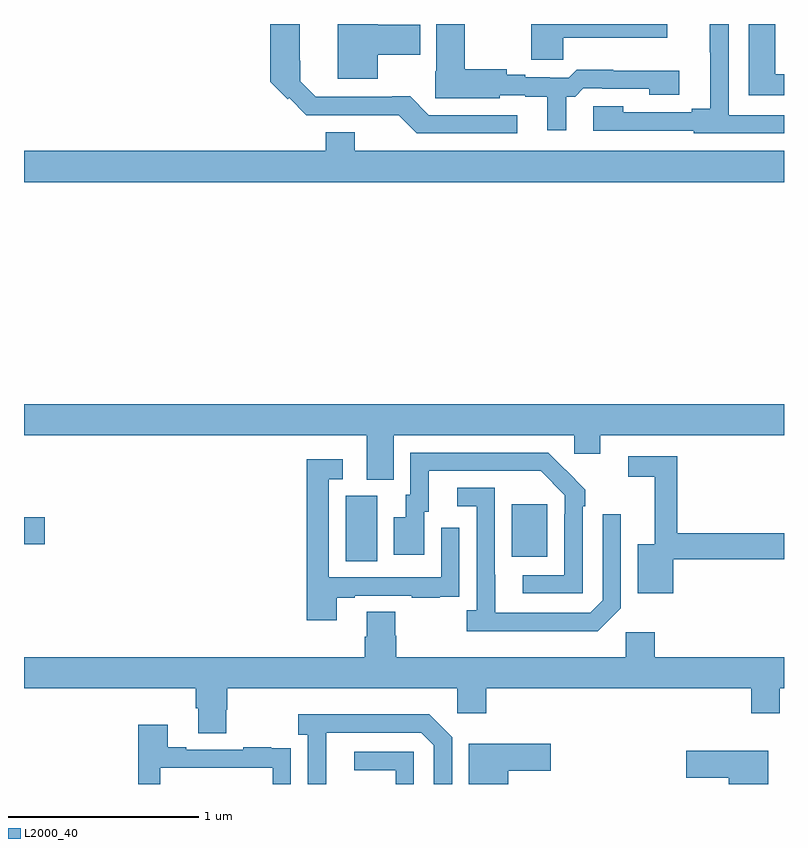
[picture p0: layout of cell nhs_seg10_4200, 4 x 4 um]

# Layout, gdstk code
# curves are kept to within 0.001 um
import gdstk
lib = gdstk.Library(unit=1e-6, precision=1e-09)
def R(c, l, rs):  # rectangles x0, y0, x1, y1
    for r in rs: c.add(gdstk.rectangle(r[:2], r[2:], *l))
def P(c, l, *ps):  # polygons
    for p in ps: c.add(gdstk.Polygon(p, *l))
L2000_40 = (2000, 40)

nhs_seg10_4200 = lib.new_cell('nhs_seg10_4200')
R(nhs_seg10_4200, L2000_40, [(346.694,1279.672,346.858,1280.016), (347.567,1279.697,347.755,1279.972), (345,1279.763,345.109,1279.905)])
P(nhs_seg10_4200, L2000_40, [(347.837,1282.427),(348.385,1282.427),(348.385,1282.5),(347.671,1282.5),(347.671,1282.311),(347.837,1282.311)],
  [(347.854,1282.118),(347.9,1282.118),(347.943,1282.161),(348.043,1282.161),(348.043,1282.158),(348.292,1282.158),(348.292,1282.127),(348.448,1282.127),(348.448,1282.255),(348.101,1282.255),(348.101,1282.258),(347.908,1282.258),(347.868,1282.218),(347.768,1282.218),(347.768,1282.221),(347.638,1282.221),(347.638,1282.234),(347.542,1282.234),(347.542,1282.263),(347.319,1282.263),(347.319,1282.5),(347.171,1282.5),(347.171,1282.251),(347.164,1282.251),(347.164,1282.109),(347.505,1282.109),(347.505,1282.125),(347.638,1282.125),(347.638,1282.118),(347.753,1282.118),(347.753,1281.942),(347.854,1281.942)],
  [(349,1282.02),(348.708,1282.02),(348.708,1282.5),(348.61,1282.5),(348.61,1282.351),(348.611,1282.351),(348.611,1282.055),(348.515,1282.055),(348.515,1282.035),(348.153,1282.035),(348.153,1282.066),(347.997,1282.066),(347.997,1281.939),(348.525,1281.939),(348.525,1281.924),(349,1281.924)],
  [(346.861,1282.337),(347.086,1282.337),(347.086,1282.495),(346.861,1282.495),(346.861,1282.5),(346.652,1282.5),(346.652,1282.211),(346.861,1282.211)],
  [(349,1282.235),(348.955,1282.235),(348.955,1282.5),(348.815,1282.5),(348.815,1282.126),(349,1282.126)],
  [(347.596,1282.02),(347.13,1282.02),(347.032,1282.119),(346.937,1282.119),(346.937,1282.116),(346.536,1282.116),(346.453,1282.2),(346.453,1282.306),(346.45,1282.306),(346.45,1282.5),(346.295,1282.5),(346.295,1282.197),(346.388,1282.103),(346.395,1282.111),(346.485,1282.02),(346.973,1282.019),(347.067,1281.924),(347.596,1281.924)],
  [(349,1281.832),(346.741,1281.832),(346.741,1281.931),(346.589,1281.931),(346.589,1281.832),(345,1281.832),(345,1281.668),(349,1281.668)],
  [(345,1280.336),(346.805,1280.336),(346.805,1280.101),(346.945,1280.101),(346.945,1280.336),(347.895,1280.336),(347.895,1280.238),(348.034,1280.238),(348.034,1280.336),(349,1280.336),(349,1280.5),(345,1280.5)],
  [(347.94,1279.961),(347.955,1279.961),(347.955,1280.049),(347.758,1280.244),(347.034,1280.244),(347.034,1280.022),(347.009,1280.022),(347.009,1279.903),(346.946,1279.903),(346.946,1279.707),(347.107,1279.707),(347.107,1279.932),(347.131,1279.932),(347.131,1280.148),(347.719,1280.148),(347.847,1280.019),(347.847,1279.919),(347.844,1279.919),(347.844,1279.599),(347.625,1279.599),(347.625,1279.503),(347.94,1279.503)],
  [(348.417,1279.684),(349,1279.684),(349,1279.82),(348.437,1279.82),(348.437,1280.226),(348.18,1280.226),(348.18,1280.118),(348.32,1280.118),(348.32,1279.762),(348.23,1279.762),(348.23,1279.505),(348.417,1279.505)],
  [(346.645,1279.479),(346.741,1279.479),(346.741,1279.491),(347.041,1279.491),(347.041,1279.479),(347.189,1279.479),(347.189,1279.485),(347.291,1279.485),(347.291,1279.594),(347.292,1279.594),(347.292,1279.849),(347.196,1279.849),(347.196,1279.587),(346.605,1279.587),(346.605,1280.103),(346.678,1280.103),(346.678,1280.209),(346.489,1280.209),(346.489,1279.362),(346.645,1279.362)],
  [(348.141,1279.425),(348.141,1279.921),(348.045,1279.921),(348.045,1279.467),(347.979,1279.401),(347.479,1279.401),(347.478,1280.058),(347.28,1280.058),(347.28,1279.962),(347.382,1279.962),(347.382,1279.414),(347.331,1279.414),(347.331,1279.304),(348.02,1279.304)],
  [(346.065,1278.891),(346.07,1278.891),(346.07,1279.004),(347.28,1279.004),(347.28,1278.873),(347.432,1278.873),(347.432,1279.004),(348.827,1279.004),(348.827,1278.873),(348.978,1278.873),(348.978,1279.004),(349,1279.004),(349,1279.168),(348.32,1279.168),(348.32,1279.3),(348.168,1279.3),(348.168,1279.168),(346.958,1279.168),(346.958,1279.281),(346.953,1279.281),(346.953,1279.406),(346.805,1279.406),(346.805,1279.274),(346.793,1279.274),(346.793,1279.168),(345,1279.168),(345,1279.004),(345.905,1279.004),(345.905,1278.898),(345.917,1278.898),(345.917,1278.766),(346.065,1278.766)],
  [(346.59,1278.571),(346.591,1278.771),(347.091,1278.771),(347.157,1278.705),(347.157,1278.5),(347.253,1278.5),(347.253,1278.747),(347.132,1278.868),(346.443,1278.868),(346.443,1278.758),(346.494,1278.758),(346.494,1278.5),(346.59,1278.5)],
  [(345.717,1278.585),(346.308,1278.585),(346.308,1278.5),(346.404,1278.5),(346.404,1278.578),(346.403,1278.578),(346.403,1278.687),(346.301,1278.687),(346.301,1278.694),(346.153,1278.694),(346.153,1278.681),(345.853,1278.681),(345.853,1278.694),(345.757,1278.694),(345.757,1278.811),(345.601,1278.811),(345.601,1278.5),(345.717,1278.5)],
  [(347.549,1278.569),(347.773,1278.569),(347.773,1278.711),(347.342,1278.711),(347.342,1278.5),(347.549,1278.5)],
  [(348.916,1278.675),(348.486,1278.675),(348.486,1278.533),(348.709,1278.533),(348.709,1278.5),(348.916,1278.5)],
  [(347.052,1278.669),(346.737,1278.669),(346.737,1278.573),(346.956,1278.573),(346.956,1278.5),(347.052,1278.5)])

lib.write_gds('nhs_seg10_4200.gds')
